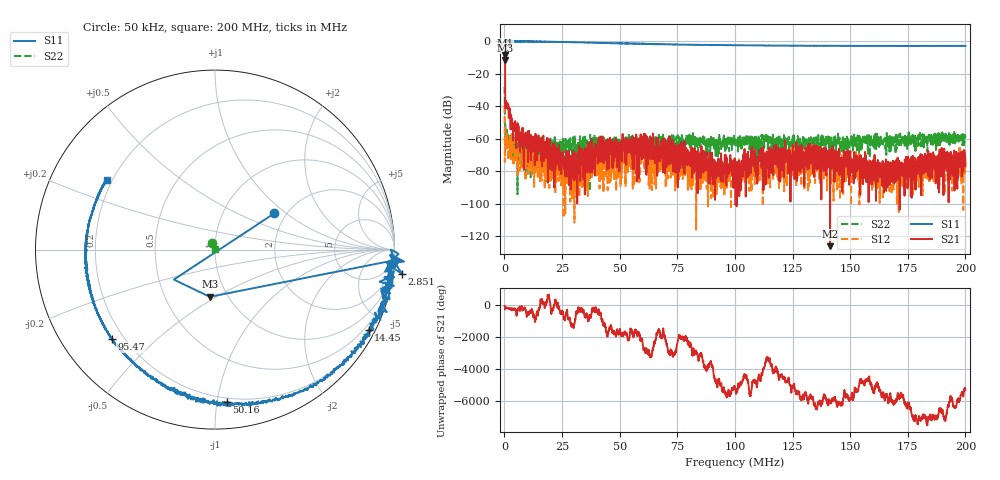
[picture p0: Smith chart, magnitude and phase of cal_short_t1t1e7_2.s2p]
! 26-Feb-26 1:53:39 PM
! E:\VNA_MEASUREMENTS\CAL_S11\CAL_SHORT_T1T1E7_2.S2P
! CHANNEL.1
! TR.MEASUREMENT
! CORRECTED.DATA
# GHZ S RI R 50.0
! FREQ.GHZ  S11RE  S11IM  S21RE  S21IM  S12RE  S12IM  S22RE  S22IM
!; PortSelection: Port_12
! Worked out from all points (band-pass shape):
!   2000 points, 50 kHz to 200 MHz, reference 50 ohm
!   highest |S21| = -8.40 dB at 150 kHz (marker M1); lowest = -126.0 dB at 141.3 MHz (marker M2)
!   |S21| within 3 dB of the highest: 78.4 kHz to 198 kHz (119.6 kHz wide, 86.5 % of centre)
!   lowest |S11| = -11.5 dB at 250 kHz (marker M3), VSWR 1.72, Z = 41.2 - j23.3 ohm
!   |S11| at or under -10 dB: 114.9 kHz to 263.4 kHz (148.5 kHz wide, 78.5 % of centre)
!   |S22| runs from -94.1 to -27.9 dB; largest |S21 - S12| = 0.38
!   S11 on the Smith chart (normalised r, x): 50 kHz: 1.74, +0.83; 2.851 MHz: -5, -13; 14.45 MHz: 0.30, -4.04; 50.16 MHz: 0.17, -1.06; 95.47 MHz: 0.15, -0.36; 200 MHz: 0.18, +0.28
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5e-05  0.3302 0.2019  0.1982 -0.1257  -0.00914 -0.00482  -0.0194 0.0351
0.000150025  -0.2291 -0.167  0.0951 -0.3681  -0.000151 -0.000123  0.00323 -0.00583
0.00025005  -0.0294 -0.2631  -0.0661 0.1727  -3.26e-05 -0.000441  -0.000397 -0.00248
0.001150275  0.9938 -0.0716  -0.0106 -0.00254  0.00141 -0.000336  -3.98e-05 0.000566
0.0028507  1.043 -0.1362  -0.0044 0.00321  -8.34e-05 0.000294  2.66e-05 0.000919
0.007351826  0.9489 -0.2554  0.000643 -0.000923  -0.000132 -3.9e-06  0.00103 0.000369
0.01095273  0.9211 -0.3532  -0.000281 -0.000342  -0.000226 9.99e-05  -6.23e-05 -0.000477
0.0144536  0.8558 -0.4487  0.000115 0.000601  3.16e-05 -5.13e-05  -0.00011 -6.53e-05
0.02535633  0.6502 -0.6931  -0.000271 1.67e-05  2.77e-05 4.4e-06  0.00105 -0.000416
0.03345835  0.4529 -0.7996  0.000229 0.00034  -3.5e-06 8.81e-05  0.000724 0.000299
0.04156038  0.2635 -0.8507  -0.000358 4.25e-05  0.000142 -2.08e-05  0.00109 0.000477
0.05016253  0.0646 -0.8507  -0.000514 -0.000252  -0.000219 0.00017  0.000435 0.000407
0.06676668  -0.248 -0.7713  -0.000373 0.000435  6.98e-05 6.54e-05  0.000467 0.00029
0.07576893  -0.3802 -0.6908  6.63e-05 -0.000178  3.63e-05 -0.000103  0.000398 0.000145
0.09547386  -0.5762 -0.4974  -7.46e-05 -0.000126  2.74e-05 -1.05e-05  0.000385 0.00076
0.100075  -0.6067 -0.4474  -6.09e-05 -0.000153  -4.53e-05 4.23e-05  0.000577 0.000782
0.1178795  -0.6844 -0.2615  -0.00017 0.000613  -4.18e-05 -7.38e-05  0.000585 6.86e-05
0.123881  -0.7033 -0.2005  6.75e-05 8.35e-05  9.5e-06 0.00017  0.000594 0.000196
0.1333833  -0.7155 -0.1124  0.000133 -0.000308  0.000218 0.000115  0.00042 0.000749
0.1412853  -0.7202 -0.0435  4e-07 -3e-07  -0.000117 7.74e-05  0.000452 0.000722
0.1666917  -0.6985 0.1666  -8.1e-05 -2.4e-05  -1e-05 -8.95e-05  0.000386 0.00095
0.2  -0.6043 0.3861  -9.37e-05 0.000109  5.08e-05 -0.000118  0.000636 0.000855
